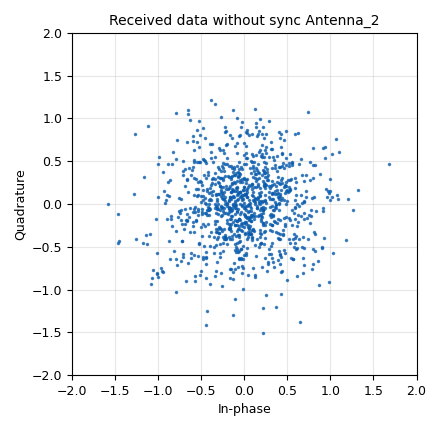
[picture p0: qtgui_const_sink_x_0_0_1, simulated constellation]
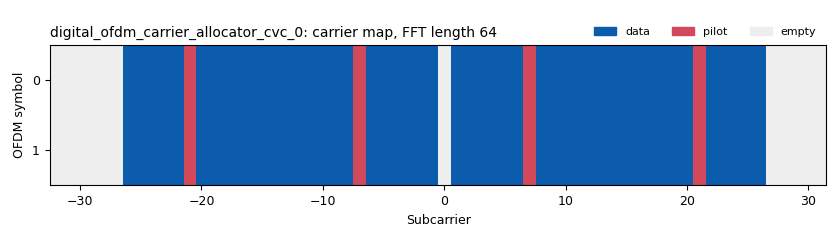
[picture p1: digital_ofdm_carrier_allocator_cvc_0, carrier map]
options:
  parameters:
    author: omero
    generate_options: qt_gui
    id: MRC_USRP_sim
    output_language: python
    title: Not titled yet
  states: {}

blocks:
- name: fft_len
  id: variable
  parameters:
    value: '64'
  states: {}
- name: header_equalizer
  id: variable
  parameters:
    value: digital.ofdm_equalizer_simpledfe(fft_len, header_mod.base(), occupied_carriers, pilot_carriers, pilot_symbols)
  states: {}
- name: header_formatter
  id: variable
  parameters:
    value: digital.packet_header_ofdm(occupied_carriers, n_syms=1, len_tag_key=packet_length_tag_key, frame_len_tag_key=length_tag_key, bits_per_header_sym=header_mod.bits_per_symbol(), bits_per_payload_sym=payload_mod.bits_per_symbol(), scramble_header=False)
  states: {}
- name: header_mod
  id: variable
  parameters:
    value: digital.constellation_bpsk()
  states: {}
- name: length_tag_key
  id: variable
  parameters:
    value: '"frame_len"'
  states: {}
- name: occupied_carriers
  id: variable
  parameters:
    value: (list(range(-26, -21)) + list(range(-20, -7)) + list(range(-6, 0)) + list(range(1, 7)) + list(range(8, 21)) + list(range(22, 27)),)
  states: {}
- name: packet_len
  id: variable
  parameters:
    value: '64'
  states: {}
- name: packet_length_tag_key
  id: variable
  parameters:
    value: '"packet_len"'
  states: {}
- name: payload_equalizer
  id: variable
  parameters:
    value: digital.ofdm_equalizer_simpledfe(fft_len, payload_mod.base(), occupied_carriers, pilot_carriers, pilot_symbols, 1)
  states: {}
- name: payload_mod
  id: variable
  parameters:
    value: digital.constellation_qpsk()
  states: {}
- name: pilot_carriers
  id: variable
  parameters:
    value: ((-21, -7, 7, 21,),)
  states: {}
- name: pilot_symbols
  id: variable
  parameters:
    value: ((1, 1, 1, -1,),)
  states: {}
- name: rolloff
  id: variable
  parameters:
    value: '0'
  states: {}
- name: samp_rate
  id: variable
  parameters:
    value: '32000'
  states: {}
- name: sync_word1
  id: variable
  parameters:
    value: '[0., 0., 0., 0., 0., 0., 0., 1.41421356, 0., -1.41421356, 0., 1.41421356, 0., -1.41421356, 0., -1.41421356, 0., -1.41421356, 0., 1.41421356, 0., -1.41421356, 0., 1.41421356, 0., -1.41421356, 0., -1.41421356, 0., -1.41421356, 0., -1.41421356, 0., 1.41421356, 0., -1.41421356, 0., 1.41421356, 0., 1.41421356, 0., 1.41421356, 0., -1.41421356, 0., 1.41421356, 0., 1.41421356, 0., 1.41421356, 0., -1.41421356, 0., 1.41421356, 0., 1.41421356, 0., 1.41421356, 0., 0., 0., 0., 0., 0.]'
  states: {}
- name: sync_word2
  id: variable
  parameters:
    value: '[0j, 0j, 0j, 0j, 0j, 0j, (-1+0j), (-1+0j), (-1+0j), (-1+0j), (1+0j), (1+0j), (-1+0j), (-1+0j), (-1+0j), (1+0j), (-1+0j), (1+0j), (1+0j), (1 +0j), (1+0j), (1+0j), (-1+0j), (-1+0j), (-1+0j), (-1+0j), (-1+0j), (1+0j), (-1+0j), (-1+0j), (1+0j), (-1+0j), 0j, (1+0j), (-1+0j), (1+0j), (1+0j), (1+0j), (-1+0j), (1+0j), (1+0j), (1+0j), (-1+0j), (1+0j), (1+0j), (1+0j), (1+0j), (-1+0j), (1+0j), (-1+0j), (-1+0j), (-1+0j), (1+0j), (-1+0j), (1+0j), (-1+0j), (-1+0j), (-1+0j), (-1+0j), 0j, 0j, 0j, 0j, 0j]'
  states: {}
- name: MRC_0
  id: MRC
  parameters: {}
  states: {state: disabled}
- name: analog_frequency_modulator_fc_0
  id: analog_frequency_modulator_fc
  parameters:
    sensitivity: '-2.0/fft_len'
  states: {}
- name: analog_frequency_modulator_fc_0_0
  id: analog_frequency_modulator_fc
  parameters:
    sensitivity: '-2.0/fft_len'
  states: {}
- name: analog_random_source_x_0
  id: analog_random_source_x
  parameters:
    max: '256'
    min: '0'
    num_samps: '1000'
    repeat: 'True'
    type: byte
  states: {}
- name: blocks_delay_0
  id: blocks_delay
  parameters:
    delay: fft_len+fft_len//4
    type: complex
  states: {}
- name: blocks_delay_0_0
  id: blocks_delay
  parameters:
    delay: fft_len+fft_len//4
    type: complex
  states: {}
- name: blocks_multiply_const_vxx_0
  id: blocks_multiply_const_vxx
  parameters:
    const: '0.05'
    type: complex
  states: {}
- name: blocks_multiply_xx_0
  id: blocks_multiply_xx
  parameters:
    type: complex
  states: {}
- name: blocks_multiply_xx_0_0
  id: blocks_multiply_xx
  parameters:
    type: complex
  states: {}
- name: blocks_repack_bits_bb_0
  id: blocks_repack_bits_bb
  parameters:
    align_output: 'True'
    endianness: gr.GR_LSB_FIRST
    k: payload_mod.bits_per_symbol()
    l: '8'
    len_tag_key: packet_length_tag_key
  states: {}
- name: blocks_repack_bits_bb_0_0
  id: blocks_repack_bits_bb
  parameters:
    endianness: gr.GR_LSB_FIRST
    k: '8'
    l: payload_mod.bits_per_symbol()
    len_tag_key: packet_length_tag_key
  states: {}
- name: blocks_stream_to_tagged_stream_0
  id: blocks_stream_to_tagged_stream
  parameters:
    len_tag_key: packet_length_tag_key
    packet_len: packet_len
    type: byte
  states: {}
- name: blocks_tag_debug_1
  id: blocks_tag_debug
  parameters:
    display: 'False'
    name: Rx Bytes
    type: byte
  states: {}
- name: blocks_tag_gate_0
  id: blocks_tag_gate
  parameters:
    propagate_tags: 'False'
    type: complex
  states: {}
- name: blocks_tagged_stream_mux_0
  id: blocks_tagged_stream_mux
  parameters:
    lengthtagname: packet_length_tag_key
    ninputs: '2'
    type: complex
  states: {}
- name: blocks_throttle_0
  id: blocks_throttle
  parameters:
    samples_per_second: samp_rate
    type: complex
  states: {}
- name: blocks_throttle_0_0
  id: blocks_throttle
  parameters:
    samples_per_second: samp_rate
    type: complex
  states: {}
- name: blocks_throttle_0_0_0
  id: blocks_throttle
  parameters:
    samples_per_second: samp_rate
    type: complex
  states: {}
- name: channels_channel_model_0
  id: channels_channel_model
  parameters:
    block_tags: 'True'
    epsilon: '1.0'
    freq_offset: 2* 1.0/fft_len
    noise_voltage: '0.1'
    seed: '0'
    taps: '1.0'
  states: {}
- name: channels_channel_model_0_0
  id: channels_channel_model
  parameters:
    block_tags: 'True'
    epsilon: '1.0'
    freq_offset: 2* 1.0/fft_len
    noise_voltage: '0.1'
    seed: '0'
    taps: '1.0'
  states: {}
- name: digital_chunks_to_symbols_xx_0
  id: digital_chunks_to_symbols_xx
  parameters:
    dimension: '1'
    in_type: byte
    out_type: complex
    symbol_table: header_mod.points()
  states: {}
- name: digital_chunks_to_symbols_xx_0_0
  id: digital_chunks_to_symbols_xx
  parameters:
    dimension: '1'
    in_type: byte
    out_type: complex
    symbol_table: payload_mod.points()
  states: {}
- name: digital_constellation_decoder_cb_0
  id: digital_constellation_decoder_cb
  parameters:
    constellation: header_mod.base()
  states: {}
- name: digital_constellation_decoder_cb_0_0
  id: digital_constellation_decoder_cb
  parameters:
    constellation: header_mod.base()
  states: {}
- name: digital_constellation_decoder_cb_1
  id: digital_constellation_decoder_cb
  parameters:
    constellation: payload_mod.base()
  states: {}
- name: digital_crc32_bb_0
  id: digital_crc32_bb
  parameters:
    check: 'True'
    lengthtagname: packet_length_tag_key
    packed: 'True'
  states: {}
- name: digital_crc32_bb_0_0
  id: digital_crc32_bb
  parameters:
    check: 'False'
    lengthtagname: packet_length_tag_key
    packed: 'True'
  states: {}
- name: digital_header_payload_demux_0
  id: digital_header_payload_demux
  parameters:
    guard_interval: fft_len//4
    header_len: '3'
    header_padding: '0'
    items_per_symbol: fft_len
    length_tag_key: length_tag_key
    output_symbols: 'True'
    samp_rate: samp_rate
    special_tags: ()
    timing_tag_key: '"rx_time"'
    type: complex
  states: {}
- name: digital_header_payload_demux_0_0
  id: digital_header_payload_demux
  parameters:
    guard_interval: fft_len//4
    header_len: '3'
    header_padding: '0'
    items_per_symbol: fft_len
    length_tag_key: length_tag_key
    output_symbols: 'True'
    samp_rate: samp_rate
    special_tags: ()
    timing_tag_key: '"rx_time"'
    type: complex
  states: {}
- name: digital_ofdm_carrier_allocator_cvc_0
  id: digital_ofdm_carrier_allocator_cvc
  parameters:
    fft_len: fft_len
    len_tag_key: packet_length_tag_key
    occupied_carriers: occupied_carriers
    output_is_shifted: 'True'
    pilot_carriers: pilot_carriers
    pilot_symbols: pilot_symbols
    sync_words: (sync_word1, sync_word2)
  states: {}
- name: digital_ofdm_chanest_vcvc_0
  id: digital_ofdm_chanest_vcvc
  parameters:
    force_one_symbol: 'False'
    max_carr_offset: '3'
    n_data_symbols: '2'
    sync_symbol1: sync_word1
    sync_symbol2: sync_word2
  states: {}
- name: digital_ofdm_chanest_vcvc_0_0
  id: digital_ofdm_chanest_vcvc
  parameters:
    force_one_symbol: 'False'
    max_carr_offset: '3'
    n_data_symbols: '2'
    sync_symbol1: sync_word1
    sync_symbol2: sync_word2
  states: {}
- name: digital_ofdm_cyclic_prefixer_0
  id: digital_ofdm_cyclic_prefixer
  parameters:
    cp_len: fft_len//4
    input_size: fft_len
    rolloff: rolloff
    tagname: packet_length_tag_key
  states: {}
- name: digital_ofdm_frame_equalizer_vcvc_0
  id: digital_ofdm_frame_equalizer_vcvc
  parameters:
    cp_len: fft_len//4
    equalizer: header_equalizer.base()
    fft_len: fft_len
    fixed_frame_len: '1'
    len_tag_key: length_tag_key
    propagate_channel_state: 'True'
  states: {}
- name: digital_ofdm_frame_equalizer_vcvc_0_0
  id: digital_ofdm_frame_equalizer_vcvc
  parameters:
    cp_len: fft_len//4
    equalizer: header_equalizer.base()
    fft_len: fft_len
    fixed_frame_len: '1'
    len_tag_key: length_tag_key
    propagate_channel_state: 'True'
  states: {}
- name: digital_ofdm_serializer_vcc_header
  id: digital_ofdm_serializer_vcc
  parameters:
    carr_offset_key: ''
    fft_len: fft_len
    len_tag_key: length_tag_key
    occupied_carriers: occupied_carriers
    packet_len_tag_key: ''
  states: {}
- name: digital_ofdm_serializer_vcc_header_0
  id: digital_ofdm_serializer_vcc
  parameters:
    carr_offset_key: ''
    fft_len: fft_len
    len_tag_key: length_tag_key
    occupied_carriers: occupied_carriers
    packet_len_tag_key: ''
  states: {}
- name: digital_ofdm_serializer_vcc_payload
  id: digital_ofdm_serializer_vcc
  parameters:
    carr_offset_key: ''
    fft_len: fft_len
    len_tag_key: length_tag_key
    occupied_carriers: occupied_carriers
    packet_len_tag_key: packet_length_tag_key
    symbols_skipped: '1'
  states: {}
- name: digital_ofdm_sync_sc_cfb_0
  id: digital_ofdm_sync_sc_cfb
  parameters:
    cp_len: fft_len//4
    fft_len: fft_len
    threshold: '0.9'
  states: {}
- name: digital_ofdm_sync_sc_cfb_0_0
  id: digital_ofdm_sync_sc_cfb
  parameters:
    cp_len: fft_len//4
    fft_len: fft_len
    threshold: '0.9'
  states: {}
- name: digital_packet_headergenerator_bb_0
  id: digital_packet_headergenerator_bb
  parameters:
    header_formatter: header_formatter.base()
    len_tag_key: packet_length_tag_key
  states: {}
- name: digital_packet_headerparser_b_0
  id: digital_packet_headerparser_b
  parameters:
    header_formatter: header_formatter.base()
  states: {}
- name: digital_packet_headerparser_b_0_0
  id: digital_packet_headerparser_b
  parameters:
    header_formatter: header_formatter.base()
  states: {}
- name: epy_block_0
  id: epy_block
  parameters:
    _source_code: |
      """
      Embedded Python Blocks:

      Each time this file is saved, GRC will instantiate the first class it finds
      to get ports and parameters of your block. The arguments to __init__  will
      be the parameters. All of them are required to have default values!
      """

      import numpy as np
      from gnuradio import gr


      class blk(gr.sync_block):  # other base classes are basic_block, decim_block, interp_block
          """Embedded Python Block example - a simple multiply const"""

          def __init__(self, example_param=1.0):  # only default arguments here
              """arguments to this function show up as parameters in GRC"""
              gr.sync_block.__init__(
                  self,
                  name='Embedded Python Block',   # will show up in GRC
                  in_sig=[
                  (np.complex64,64),
                  (np.complex64,64),
                  (np.complex64,64),
                  (np.complex64,64)], 
                  out_sig= [(np.complex64,64)]
              )
              # if an attribute with the same name as a parameter is found,
              # a callback is registered (properties work, too).
              self.example_param = example_param

          def work(self, input_items, output_items):
              """Maximal Ratio Combining"""
              h_1 = input_items[2]
              h_2 = input_items[3]
              h_1_conj = np.conjugate(h_1)
              h_2_conj = np.conjugate(h_2)
              output_items[0] = (np.dot(h_1_conj, input_items[0]) + np.dot(h_2_conj, input_items[1]))/(np.dot(h_1_conj, h_1) + np.dot(h_2_conj, h_2))
              return len(output_items[0])
    example_param: '1.0'
  states: {}
- name: fft_vxx_0
  id: fft_vxx
  parameters:
    fft_size: fft_len
    forward: 'True'
    shift: 'True'
    type: complex
    window: ()
  states: {}
- name: fft_vxx_0_0
  id: fft_vxx
  parameters:
    fft_size: fft_len
    forward: 'True'
    shift: 'True'
    type: complex
    window: ()
  states: {}
- name: fft_vxx_0_0_0
  id: fft_vxx
  parameters:
    fft_size: fft_len
    forward: 'False'
    shift: 'True'
    type: complex
    window: ()
  states: {}
- name: fft_vxx_1
  id: fft_vxx
  parameters:
    fft_size: fft_len
    forward: 'True'
    shift: 'True'
    type: complex
    window: ()
  states: {}
- name: fft_vxx_1_0
  id: fft_vxx
  parameters:
    fft_size: fft_len
    forward: 'True'
    shift: 'True'
    type: complex
    window: ()
  states: {}
- name: header_bits
  id: virtual_sink
  parameters:
    stream_id: Header Bits
  states: {}
- name: import_1
  id: import
  parameters:
    imports: from gnuradio.digital.utils import tagged_streams
  states: {}
- name: qtgui_const_sink_x_0
  id: qtgui_const_sink_x
  parameters:
    grid: 'True'
    gui_hint: 1,2
    name: Transmitted Data Antenna 1
    size: '1024'
    type: complex
  states: {state: disabled}
- name: qtgui_const_sink_x_0_0
  id: qtgui_const_sink_x
  parameters:
    grid: 'True'
    gui_hint: 2,1
    name: Received data without sync Antenna_1
    size: '1024'
    type: complex
    update_time: '0.1'
  states: {state: disabled}
- name: qtgui_const_sink_x_0_0_0
  id: qtgui_const_sink_x
  parameters:
    grid: 'True'
    gui_hint: 3,1
    name: Demodulated data
    size: '1024'
    type: complex
    update_time: '0.5'
  states: {state: disabled}
- name: qtgui_const_sink_x_0_0_1
  id: qtgui_const_sink_x
  parameters:
    grid: 'True'
    gui_hint: 2,2
    name: Received data without sync Antenna_2
    size: '1024'
    type: complex
    update_time: '0.1'
  states: {}
- name: qtgui_const_sink_x_0_1
  id: qtgui_const_sink_x
  parameters:
    grid: 'True'
    gui_hint: 1,1
    name: QPSK data with headers
    size: '1024'
    type: complex
  states: {state: disabled}
- name: qtgui_freq_sink_x_0
  id: qtgui_freq_sink_x
  parameters:
    bw: samp_rate *100
    fc: 2.4e9
    fftsize: '1024'
    grid: 'True'
    gui_hint: 4,1,1,2
    name: 'Frequency Spectrum of Transmitted Signal '
    showports: 'True'
    type: complex
    ymin: '-100'
  states: {state: disabled}
- name: qtgui_freq_sink_x_0_0
  id: qtgui_freq_sink_x
  parameters:
    bw: samp_rate*1000
    fc: 2.4e9
    fftsize: '1024'
    grid: 'True'
    gui_hint: 5,1,1,2
    name: Frequency Domain of Received Signal Antenna_1
    showports: 'True'
    type: complex
    ymin: '-110'
  states: {state: disabled}
- name: qtgui_freq_sink_x_0_0_0
  id: qtgui_freq_sink_x
  parameters:
    bw: samp_rate*1000
    fc: 2.4e9
    fftsize: '1024'
    grid: 'True'
    gui_hint: 6,1,1,2
    name: Frequency Domain of Received Signal Antenna_2
    showports: 'True'
    type: complex
    ymin: '-110'
  states: {state: disabled}
- name: uhd_usrp_sink_0_0
  id: uhd_usrp_sink
  parameters:
    ant0: '"TX/RX"'
    bw0: 15e6
    center_freq0: 2.4e9
    dev_addr: '"serial=31FD9BD"'
    gain0: '100'
    samp_rate: samp_rate
    sync: pc_clock
    type: fc32
  states: {state: disabled}
- name: uhd_usrp_source_0
  id: uhd_usrp_source
  parameters:
    ant0: '"RX2"'
    bw0: 15e6
    center_freq0: 2.4e9
    dev_addr: '"serial = 31FD9CA"'
    gain0: '60'
    samp_rate: samp_rate
    start_time: '-1'
    sync: pc_clock
    type: fc32
  states: {state: disabled}
- name: uhd_usrp_source_0_0
  id: uhd_usrp_source
  parameters:
    ant0: '"RX2"'
    bw0: 15e6
    center_freq0: 2.4e9
    dev_addr: '"serial = 31FD9CA"'
    gain0: '60'
    samp_rate: samp_rate
    start_time: '-1'
    sync: pc_clock
    type: fc32
  states: {state: disabled}
- name: virtual_sink_0
  id: virtual_sink
  parameters:
    stream_id: Header Stream A_1
  states: {}
- name: virtual_sink_0_0
  id: virtual_sink
  parameters:
    stream_id: Header Stream A_2
  states: {}
- name: virtual_sink_0_0_0
  id: virtual_sink
  parameters:
    stream_id: Payload Bits
  states: {}
- name: virtual_sink_0_0_0_0
  id: virtual_sink
  parameters:
    stream_id: Pre-OFDM
  states: {}
- name: virtual_sink_0_1
  id: virtual_sink
  parameters:
    stream_id: Time Domain1
  states: {}
- name: virtual_sink_1
  id: virtual_sink
  parameters:
    stream_id: Payload Stream A_1
  states: {}
- name: virtual_sink_1_0
  id: virtual_sink
  parameters:
    stream_id: Payload IQ
  states: {}
- name: virtual_sink_1_0_0
  id: virtual_sink
  parameters:
    stream_id: 'Demodulated Payload Bits '
  states: {}
- name: virtual_sink_1_1
  id: virtual_sink
  parameters:
    stream_id: Payload Stream A_2
  states: {}
- name: virtual_sink_1_1_0
  id: virtual_sink
  parameters:
    stream_id: Tx Signal
  states: {}
- name: virtual_sink_2
  id: virtual_sink
  parameters:
    stream_id: Channel A_1
  states: {}
- name: virtual_sink_2_0
  id: virtual_sink
  parameters:
    stream_id: Channel A_2
  states: {}
- name: virtual_source_0
  id: virtual_source
  parameters:
    stream_id: Header Stream A_1
  states: {}
- name: virtual_source_0_0
  id: virtual_source
  parameters:
    stream_id: Payload IQ
  states: {}
- name: virtual_source_0_0_0
  id: virtual_source
  parameters:
    stream_id: Payload Bits
  states: {}
- name: virtual_source_0_0_0_0
  id: virtual_source
  parameters:
    stream_id: Pre-OFDM
  states: {}
- name: virtual_source_0_0_0_0_0
  id: virtual_source
  parameters:
    stream_id: Time Domain1
  states: {}
- name: virtual_source_0_1
  id: virtual_source
  parameters:
    stream_id: Header Stream A_2
  states: {}
- name: virtual_source_0_1_0
  id: virtual_source
  parameters:
    stream_id: Header Bits
  states: {}
- name: virtual_source_1
  id: virtual_source
  parameters:
    stream_id: Payload Stream A_1
  states: {}
- name: virtual_source_1_0
  id: virtual_source
  parameters:
    stream_id: Payload Stream A_2
  states: {}
- name: virtual_source_2
  id: virtual_source
  parameters:
    stream_id: Channel A_2
  states: {}
- name: virtual_source_3
  id: virtual_source
  parameters:
    stream_id: Channel A_1
  states: {}
- name: virtual_source_4
  id: virtual_source
  parameters:
    stream_id: Tx Signal
  states: {}

connections:
- [MRC_0, '0', digital_ofdm_serializer_vcc_payload, '0']
- [analog_frequency_modulator_fc_0, '0', blocks_multiply_xx_0, '0']
- [analog_frequency_modulator_fc_0_0, '0', blocks_multiply_xx_0_0, '0']
- [analog_random_source_x_0, '0', blocks_stream_to_tagged_stream_0, '0']
- [blocks_delay_0, '0', blocks_multiply_xx_0, '1']
- [blocks_delay_0_0, '0', blocks_multiply_xx_0_0, '1']
- [blocks_multiply_const_vxx_0, '0', blocks_tag_gate_0, '0']
- [blocks_multiply_xx_0, '0', digital_header_payload_demux_0, '0']
- [blocks_multiply_xx_0_0, '0', digital_header_payload_demux_0_0, '0']
- [blocks_repack_bits_bb_0, '0', digital_crc32_bb_0, '0']
- [blocks_repack_bits_bb_0_0, '0', virtual_sink_0_0_0, '0']
- [blocks_stream_to_tagged_stream_0, '0', digital_crc32_bb_0_0, '0']
- [blocks_tag_gate_0, '0', blocks_throttle_0_0_0, '0']
- [blocks_tagged_stream_mux_0, '0', qtgui_const_sink_x_0_1, '0']
- [blocks_tagged_stream_mux_0, '0', virtual_sink_0_0_0_0, '0']
- [blocks_throttle_0, '0', blocks_delay_0, '0']
- [blocks_throttle_0, '0', digital_ofdm_sync_sc_cfb_0, '0']
- [blocks_throttle_0_0, '0', blocks_delay_0_0, '0']
- [blocks_throttle_0_0, '0', digital_ofdm_sync_sc_cfb_0_0, '0']
- [blocks_throttle_0_0_0, '0', qtgui_const_sink_x_0, '0']
- [blocks_throttle_0_0_0, '0', qtgui_freq_sink_x_0, '0']
- [blocks_throttle_0_0_0, '0', uhd_usrp_sink_0_0, '0']
- [blocks_throttle_0_0_0, '0', virtual_sink_1_1_0, '0']
- [channels_channel_model_0, '0', blocks_throttle_0, '0']
- [channels_channel_model_0, '0', qtgui_const_sink_x_0_0, '0']
- [channels_channel_model_0, '0', qtgui_freq_sink_x_0_0, '0']
- [channels_channel_model_0_0, '0', blocks_throttle_0_0, '0']
- [channels_channel_model_0_0, '0', qtgui_const_sink_x_0_0_1, '0']
- [channels_channel_model_0_0, '0', qtgui_freq_sink_x_0_0_0, '0']
- [digital_chunks_to_symbols_xx_0, '0', blocks_tagged_stream_mux_0, '0']
- [digital_chunks_to_symbols_xx_0_0, '0', blocks_tagged_stream_mux_0, '1']
- [digital_constellation_decoder_cb_0, '0', digital_packet_headerparser_b_0, '0']
- [digital_constellation_decoder_cb_0_0, '0', digital_packet_headerparser_b_0_0, '0']
- [digital_constellation_decoder_cb_1, '0', blocks_repack_bits_bb_0, '0']
- [digital_crc32_bb_0, '0', blocks_tag_debug_1, '0']
- [digital_crc32_bb_0, '0', virtual_sink_1_0_0, '0']
- [digital_crc32_bb_0_0, '0', blocks_repack_bits_bb_0_0, '0']
- [digital_crc32_bb_0_0, '0', digital_packet_headergenerator_bb_0, '0']
- [digital_header_payload_demux_0, '0', virtual_sink_0, '0']
- [digital_header_payload_demux_0, '1', virtual_sink_1, '0']
- [digital_header_payload_demux_0_0, '0', virtual_sink_0_0, '0']
- [digital_header_payload_demux_0_0, '1', virtual_sink_1_1, '0']
- [digital_ofdm_carrier_allocator_cvc_0, '0', fft_vxx_0_0_0, '0']
- [digital_ofdm_chanest_vcvc_0, '0', digital_ofdm_frame_equalizer_vcvc_0, '0']
- [digital_ofdm_chanest_vcvc_0, '0', virtual_sink_2, '0']
- [digital_ofdm_chanest_vcvc_0_0, '0', digital_ofdm_frame_equalizer_vcvc_0_0, '0']
- [digital_ofdm_chanest_vcvc_0_0, '0', virtual_sink_2_0, '0']
- [digital_ofdm_cyclic_prefixer_0, '0', virtual_sink_0_1, '0']
- [digital_ofdm_frame_equalizer_vcvc_0, '0', digital_ofdm_serializer_vcc_header, '0']
- [digital_ofdm_frame_equalizer_vcvc_0_0, '0', digital_ofdm_serializer_vcc_header_0, '0']
- [digital_ofdm_serializer_vcc_header, '0', digital_constellation_decoder_cb_0, '0']
- [digital_ofdm_serializer_vcc_header_0, '0', digital_constellation_decoder_cb_0_0, '0']
- [digital_ofdm_serializer_vcc_payload, '0', virtual_sink_1_0, '0']
- [digital_ofdm_sync_sc_cfb_0, '0', analog_frequency_modulator_fc_0, '0']
- [digital_ofdm_sync_sc_cfb_0, '1', digital_header_payload_demux_0, '1']
- [digital_ofdm_sync_sc_cfb_0_0, '0', analog_frequency_modulator_fc_0_0, '0']
- [digital_ofdm_sync_sc_cfb_0_0, '1', digital_header_payload_demux_0_0, '1']
- [digital_packet_headergenerator_bb_0, '0', header_bits, '0']
- [digital_packet_headerparser_b_0, header_data, digital_header_payload_demux_0, header_data]
- [digital_packet_headerparser_b_0_0, header_data, digital_header_payload_demux_0_0, header_data]
- [epy_block_0, '0', digital_ofdm_serializer_vcc_payload, '0']
- [fft_vxx_0, '0', digital_ofdm_chanest_vcvc_0, '0']
- [fft_vxx_0_0, '0', digital_ofdm_chanest_vcvc_0_0, '0']
- [fft_vxx_0_0_0, '0', digital_ofdm_cyclic_prefixer_0, '0']
- [fft_vxx_1, '0', MRC_0, '0']
- [fft_vxx_1, '0', epy_block_0, '0']
- [fft_vxx_1_0, '0', MRC_0, '1']
- [fft_vxx_1_0, '0', epy_block_0, '1']
- [uhd_usrp_source_0, '0', channels_channel_model_0, '0']
- [uhd_usrp_source_0_0, '0', channels_channel_model_0_0, '0']
- [virtual_source_0, '0', fft_vxx_0, '0']
- [virtual_source_0_0, '0', digital_constellation_decoder_cb_1, '0']
- [virtual_source_0_0, '0', qtgui_const_sink_x_0_0_0, '0']
- [virtual_source_0_0_0, '0', digital_chunks_to_symbols_xx_0_0, '0']
- [virtual_source_0_0_0_0, '0', digital_ofdm_carrier_allocator_cvc_0, '0']
- [virtual_source_0_0_0_0_0, '0', blocks_multiply_const_vxx_0, '0']
- [virtual_source_0_1, '0', fft_vxx_0_0, '0']
- [virtual_source_0_1_0, '0', digital_chunks_to_symbols_xx_0, '0']
- [virtual_source_1, '0', fft_vxx_1, '0']
- [virtual_source_1_0, '0', fft_vxx_1_0, '0']
- [virtual_source_2, '0', MRC_0, '2']
- [virtual_source_2, '0', epy_block_0, '3']
- [virtual_source_3, '0', epy_block_0, '2']
- [virtual_source_4, '0', channels_channel_model_0, '0']
- [virtual_source_4, '0', channels_channel_model_0_0, '0']

metadata:
  file_format: 1
